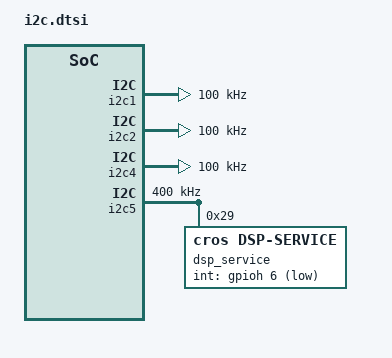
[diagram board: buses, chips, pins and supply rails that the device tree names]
/* Copyright 2025 The ChromiumOS Authors
 * Use of this source code is governed by a BSD-style license that can be
 * found in the LICENSE file.
 */
/ {
	named-i2c-ports {
		compatible = "named-i2c-ports";

		i2c_ec_i2c_pd: ec_i2c_pd {
			i2c-port = <&i2c1>;
			enum-names = "I2C_PORT_PD";
		};
		i2c_ec_i2c_prog: ec_i2c_prog {
			i2c-port = <&i2c2>;
			enum-names = "I2C_PORT_PROG";
		};
		i2c_ec_i2c_charger: ec_i2c_charger {
			i2c-port = <&i2c4>;
			enum-names = "I2C_PORT_CHARGER", "I2C_PORT_BATTERY";
		};
		i2c_ec_i2c_sensor: ec_i2c_sensor {
			i2c-port = <&i2c5>;
			enum-names = "I2C_PORT_SENSOR";
		};
	};
};

&pinctrl {
	i2c5_clk_gpe1_default: i2c5_clk_gpe1_default {
		gpio-voltage = "1v8";
	};
	i2c5_data_gpe2_default: i2c5_data_gpe2_default {
		gpio-voltage = "1v8";
	};
};

&i2c1 {
	status = "okay";
	pinctrl-0 = <&i2c1_clk_gpc1_default
		&i2c1_data_gpc2_default>;
	pinctrl-names = "default";
	label = "I2C_PORT_PD";
	clock-frequency = <I2C_BITRATE_STANDARD>;
};

&i2c2 {
	status = "okay";
	pinctrl-0 = <&i2c2_clk_gpc7_default
		&i2c2_data_gpd0_default>;
	pinctrl-names = "default";
	label = "I2C_PORT_PROG";
	clock-frequency = <I2C_BITRATE_STANDARD>;
};

&i2c4 {
	status = "okay";
	pinctrl-0 = <&i2c4_clk_gpe0_default
		&i2c4_data_gpe7_default>;
	pinctrl-names = "default";
	label = "I2C_PORT_CHARGER";
	clock-frequency = <I2C_BITRATE_STANDARD>;
};

&i2c5 {
	status = "okay";
	pinctrl-0 = <&i2c5_clk_gpe1_default
		     &i2c5_data_gpe2_default>;
	pinctrl-names = "default";

	label = "I2C_PORT_SENSOR";
	clock-frequency = <I2C_BITRATE_FAST>;
	dsp_service: dsp-service@29 {
		compatible = "cros,dsp-service";
		reg = <0x29>;
		int-gpios = <&gpioh 6 (GPIO_ACTIVE_LOW |
				GPIO_VOLTAGE_1P8 |
				GPIO_OPEN_DRAIN)>;
	};
};
